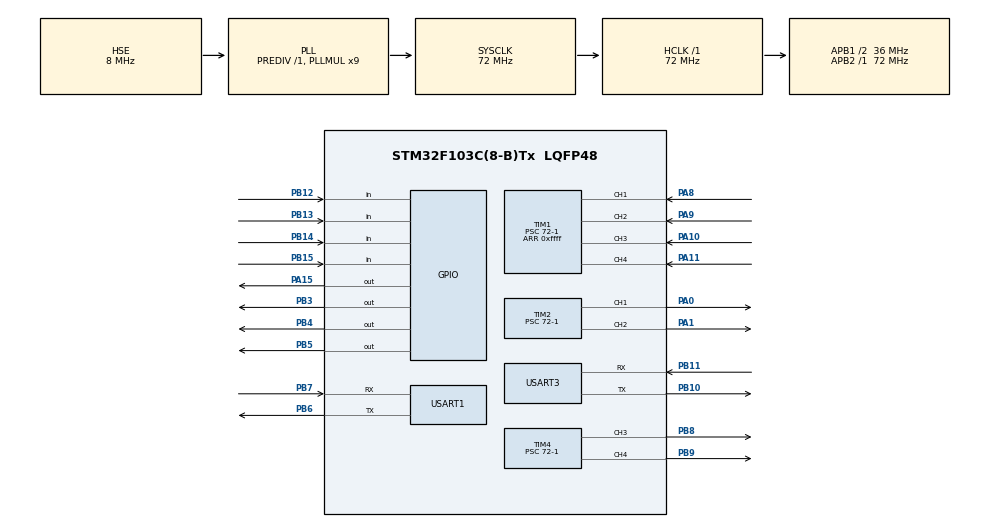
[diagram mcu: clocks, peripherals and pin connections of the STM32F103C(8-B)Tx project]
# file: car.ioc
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Mcu.Family=STM32F1
Mcu.Name=STM32F103C(8-B)Tx
Mcu.Package=LQFP48
NVIC.PriorityGroup=NVIC_PRIORITYGROUP_4
NVIC.TIM1_CC_IRQn=true\:0\:0\:false\:false\:true\:true\:true\:true
NVIC.TIM4_IRQn=true\:0\:0\:false\:false\:true\:true\:true\:true
NVIC.USART1_IRQn=true\:0\:0\:false\:false\:true\:true\:true\:true
NVIC.USART3_IRQn=true\:0\:0\:false\:false\:true\:true\:true\:true
PA0-WKUP.Signal=S_TIM2_CH1_ETR
PA1.Signal=S_TIM2_CH2
PA10.Signal=S_TIM1_CH3
PA11.Signal=S_TIM1_CH4
PA13.Mode=Serial_Wire
PA13.Signal=SYS_JTMS-SWDIO
PA14.Mode=Serial_Wire
PA14.Signal=SYS_JTCK-SWCLK
PA15.Signal=GPIO_Output
PA8.Signal=S_TIM1_CH1
PA9.Signal=S_TIM1_CH2
PB10.Mode=Asynchronous
PB10.Signal=USART3_TX
PB11.Mode=Asynchronous
PB11.Signal=USART3_RX
PB12.Signal=GPIO_Input
PB13.Signal=GPIO_Input
PB14.Signal=GPIO_Input
PB15.Signal=GPIO_Input
PB3.Signal=GPIO_Output
PB4.Signal=GPIO_Output
PB5.Signal=GPIO_Output
PB6.Mode=Asynchronous
PB6.Signal=USART1_TX
PB7.Mode=Asynchronous
PB7.Signal=USART1_RX
PB8.Signal=S_TIM4_CH3
PB9.Signal=S_TIM4_CH4
PD0-OSC_IN.Mode=HSE-External-Oscillator
PD0-OSC_IN.Signal=RCC_OSC_IN
PD1-OSC_OUT.Mode=HSE-External-Oscillator
PD1-OSC_OUT.Signal=RCC_OSC_OUT
ProjectManager.HeapSize=0x200
ProjectManager.StackSize=0x400
ProjectManager.TargetToolchain=MDK-ARM V5.32
RCC.AHBFreq_Value=72000000
RCC.APB1CLKDivider=RCC_HCLK_DIV2
RCC.APB1Freq_Value=36000000
RCC.APB1TimFreq_Value=72000000
RCC.APB2Freq_Value=72000000
RCC.APB2TimFreq_Value=72000000
RCC.HCLKFreq_Value=72000000
RCC.PLLMUL=RCC_PLL_MUL9
RCC.PLLSourceVirtual=RCC_PLLSOURCE_HSE
RCC.SYSCLKFreq_VALUE=72000000
RCC.SYSCLKSource=RCC_SYSCLKSOURCE_PLLCLK
RCC.USBFreq_Value=72000000
SH.S_TIM1_CH1.0=TIM1_CH1,Input_Capture1_from_TI1
SH.S_TIM1_CH2.0=TIM1_CH2,Input_Capture2_from_TI2
SH.S_TIM1_CH3.0=TIM1_CH3,Input_Capture3_from_TI3
SH.S_TIM1_CH4.0=TIM1_CH4,Input_Capture4_from_TI4
SH.S_TIM2_CH1_ETR.0=TIM2_CH1,PWM Generation1 CH1
SH.S_TIM2_CH2.0=TIM2_CH2,PWM Generation2 CH2
SH.S_TIM4_CH3.0=TIM4_CH3,PWM Generation3 CH3
SH.S_TIM4_CH4.0=TIM4_CH4,PWM Generation4 CH4
TIM1.Channel-Input_Capture1_from_TI1=TIM_CHANNEL_1
TIM1.Channel-Input_Capture2_from_TI2=TIM_CHANNEL_2
TIM1.Channel-Input_Capture3_from_TI3=TIM_CHANNEL_3
TIM1.Channel-Input_Capture4_from_TI4=TIM_CHANNEL_4
TIM1.Period=0xffff
TIM1.Prescaler=72-1
TIM2.Channel-PWM\ Generation1\ CH1=TIM_CHANNEL_1
TIM2.Channel-PWM\ Generation2\ CH2=TIM_CHANNEL_2
TIM2.Period=1000
TIM2.Prescaler=72-1
TIM4.Channel-PWM\ Generation3\ CH3=TIM_CHANNEL_3
TIM4.Channel-PWM\ Generation4\ CH4=TIM_CHANNEL_4
TIM4.Period=1000
TIM4.Prescaler=72-1
USART1.VirtualMode=VM_ASYNC
USART3.VirtualMode=VM_ASYNC
VP_TIM4_VS_ClockSourceINT.Mode=Internal
board=custom

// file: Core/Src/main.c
/* USER CODE BEGIN Header */
/**
  ******************************************************************************
  * @file           : main.c
  * @brief          : Main program body
  ******************************************************************************
  * @attention
  *
  * Copyright (c) 2022 STMicroelectronics.
  * All rights reserved.
  *
  * This software is licensed under terms that can be found in the LICENSE file
  * in the root directory of this software component.
  * If no LICENSE file comes with this software, it is provided AS-IS.
  *
  ******************************************************************************
  */
/* USER CODE END Header */
#include "main.h"
#include "tim.h"
#include "usart.h"
#include "gpio.h"

/* USER CODE BEGIN Includes */
#include "math.h"
#include "stdio.h"
#include "string.h"
#include "stdlib.h"
#include "oled.h"
/* USER CODE END Includes */

/* USER CODE BEGIN PTD */
struct gesture   //测得角度，角速度，x加速度，y加速度，轮位移
{
	float angle;  //角度
	float distance;
	float v1;  //左轮速度
	float v2;  //右轮速度
	float x1;  //左轮位移
	float x2;  //右轮位移
	float x;   //总位移
};
struct pidstruct  //pid参数
{
	float kp,ki,kd;
	float p,i,d;
	float thisde,lastde;
};
/* USER CODE END PTD */

/* USER CODE BEGIN PD */
uint8_t rx_buf1[1] = {0};
uint8_t rx_buf2[1] = {0};
uint8_t rx_buf3[1] = {0};
int mode=3;  //运动模式
int k=0;
int flag=0;

struct gesture gest;//当前姿态
struct gesture tgest;//目标姿态
struct gesture globalgest;//初始姿态
struct pidstruct pidposition;//位置环
struct pidstruct pidspeed1;//速度环左轮
struct pidstruct pidspeed2;//速度环右轮
struct pidstruct pidangle;//角度修正
struct pidstruct piddistance;//距离修正

float x_right=5600.0;
float x_left=4900.0;
/* USER CODE END PD */

void SystemClock_Config(void);

/* USER CODE BEGIN 0 */
void DataGet1(uint8_t data)//蓝牙
{
	if(data=='1') mode=1;
	if(data=='0') mode=0;
	if(data=='2') mode=2;
	if(data=='3') mode=3;
//	printf("%f,%f,%f\r\n",gest.v1,gest.v2,gest.angle);
	//HAL_GPIO_TogglePin(GPIOC,GPIO_PIN_13);
}
void DataGet2(uint8_t data)//陀螺仪
{
	//HAL_GPIO_TogglePin(GPIOC,GPIO_PIN_13);
}
void DataGet3(uint8_t data)//上位机通讯
{
	//HAL_GPIO_TogglePin(GPIOC,GPIO_PIN_13);
}
void Wheel(int num,int pwm)//轮子调速
{
	int direct;

	if(pwm>1000)
		pwm=1000;
	if(pwm<-1000)
		pwm=-1000;
	if(pwm>0)
		direct=1;
	if(pwm<0)
		direct=0;

	switch(num){
		case 3:
			switch(direct){
				case 1:
					__HAL_TIM_SET_COMPARE(&htim4,TIM_CHANNEL_3,1000-pwm);//3,1
				  HAL_GPIO_WritePin(GPIOB,GPIO_PIN_3,1);
				  break;
				case 0 :
					__HAL_TIM_SET_COMPARE(&htim4,TIM_CHANNEL_3,-pwm);//3,1
				  HAL_GPIO_WritePin(GPIOB,GPIO_PIN_3,0);
				  break;
			}
			break;

		case 4:
			switch(direct){
				case 1:
					__HAL_TIM_SET_COMPARE(&htim4,TIM_CHANNEL_4,pwm);//4,0
				  HAL_GPIO_WritePin(GPIOA,GPIO_PIN_15,0);
				  break;
				case 0 :
					__HAL_TIM_SET_COMPARE(&htim4,TIM_CHANNEL_4,1000+pwm);//4,0
				  HAL_GPIO_WritePin(GPIOA,GPIO_PIN_15,1);
				  break;
			}
			break;
		}
}
struct pidstruct initPID(float kp,float ki,float kd)//pid初始化
{
	struct pidstruct e;
	e.kp=kp;
	e.ki=ki;
	e.kd=kd;
	e.p=0;
	e.i=0;
	e.d=0;
	e.lastde=0;
	e.thisde=0;
	return e;
}
float PID(struct pidstruct *e,float err,float outlow,float outhigh)//计算输出
{
	float out;
	e->thisde = err;
	e->p = e->kp * e->thisde;
	e->i = e->ki * (e->i/e->ki + e->thisde);
	e->d = e->kd * (e->thisde - e->lastde);
	e->lastde = e->thisde;
	out = e->p + e->i + e->d;
	if(e->i > outhigh) e->i=outhigh;
	if(e->i < outlow) e->i=outlow;
	if(out>outhigh) out=outhigh;
	if(out<outlow) out=outlow;
	return out;
}
void Move_v(float targetv)//速度为目标运动
{
	float dout=0,out3,out4,out;
	dout=-PID(&piddistance,0-gest.distance,-1000,1000);
	out3=PID(&pidspeed1,targetv-dout-gest.v1,300,900);
	out4=PID(&pidspeed2,targetv+dout-gest.v2,300,900);
	Wheel(3,out3);
	Wheel(4,out4);

}
void Move_stop()  //停车
{
	float out3,out4;
	__HAL_TIM_SET_COMPARE(&htim4,TIM_CHANNEL_3,1000);//3,1
	HAL_GPIO_WritePin(GPIOB,GPIO_PIN_3,1);

	__HAL_TIM_SET_COMPARE(&htim4,TIM_CHANNEL_4,1000);//4,0
	HAL_GPIO_WritePin(GPIOA,GPIO_PIN_15,1);

	Wheel(4,out4);
	flag = 0;
}
void clear_x()   //清除记录路程
{
	gest.x=0;
	gest.x1=0;
	gest.x2=0;
}
void Wait_Stop(int time_stop)  //延时停车
{
	static int wait = 0;
	wait++;
	if(wait==time_stop)
	{
		Move_stop();
		clear_x();
		wait=0;
	}
}
void Waiting(int time_stop,int time_move)  //等停
{
	static int wait=0,time=0,flag=0;
	if(flag==0)
	{
		wait++;
		if(wait==time_stop)
	  {
		  Move_stop();
			wait=0;
			flag=1;
	  }
	}
	if(flag==1)
	{
		time++;
		if(time==time_move)
		{
		  mode=1;
			time=0;
		  flag=0;
		}
	}
}
void HAL_UART_RxCpltCallback(UART_HandleTypeDef *huart)  //串口中断
{
	static int count=0;
	static char a[10];
	if(huart == &huart1)
	{
		DataGet1(rx_buf1[0]);
		HAL_UART_AbortReceive_IT(&huart1);
		HAL_UART_Receive_IT(&huart1, rx_buf1, 1);
	}
	if(huart == &huart3)
	{
		if(rx_buf3[0]=='\n')  //接收树莓派数据
		{
			a[count]='\0';
			gest.distance=atof(a);
			count=0;
			a[0]='\0';
			k++;
		}
		else if(rx_buf3[0]=='\r')
		  mode = 0;
		else if(rx_buf3[0]=='\t')
			mode = 2;
		else if(rx_buf3[0]=='r')
		{
			mode = 1;
			clear_x();
			flag+=1;
			if(flag==3)  HAL_UART_Transmit(&huart3,(uint8_t *)'t',2,0xffff);
		}
		else if(rx_buf3[0]=='l')
		{
			mode = 4;
			clear_x();
			flag+=1;
			if(flag==3)  HAL_UART_Transmit(&huart3,(uint8_t *)'t',2,0xffff);
		}
		else
		{
			a[count]=rx_buf3[0];
			count++;
		}
		DataGet3(rx_buf3[0]);
		HAL_UART_AbortReceive_IT(&huart3);
		HAL_UART_Receive_IT(&huart3, rx_buf3, 1);
	}
}
void HAL_TIM_IC_CaptureCallback(TIM_HandleTypeDef *htim)  //输入捕获中断
{
	static float catch3[3],catch4[3];
	int judge3,judge4;
	if(htim==&htim1&&htim->Channel == HAL_TIM_ACTIVE_CHANNEL_3)//轮三
	{
		//printf("1");
		judge3=HAL_GPIO_ReadPin(GPIOB,GPIO_PIN_14);
		catch3[1]=HAL_TIM_ReadCapturedValue(htim, TIM_CHANNEL_3);
		catch3[2]=catch3[1]-catch3[0];
		if(catch3[2]<0)  catch3[2]+=0xffff;
		catch3[0] = catch3[1];
		//printf("%f\t",catch3[2]);

		if(judge3==0)
		{
			gest.x1+=0.52f;
			gest.v1=523598.78/catch3[2];
		}
		if(judge3==1)
		{
			gest.x1-=0.52f;
			gest.v1=-523598.78/catch3[2];
		}
	}
	if(htim==&htim1&&htim->Channel == HAL_TIM_ACTIVE_CHANNEL_4)//轮四
	{
		//printf("1");
		judge4=HAL_GPIO_ReadPin(GPIOB,GPIO_PIN_15);
		catch4[1]=HAL_TIM_ReadCapturedValue(htim, TIM_CHANNEL_4);
		catch4[2]=catch4[1]-catch4[0];
		if(catch4[2]<0)  catch4[2]+=0xffff;
		catch4[0] = catch4[1];
		//printf("%f\t",catch4[2]);

		if(judge4==1)
		{
			gest.x2+=0.52f;
			gest.v2=523598.78/catch4[2];
		}
		if(judge4==0)
		{
			gest.x2-=0.52f;
			gest.v2=-523598.78/catch4[2];
		}
	}
	gest.x=(gest.x1+gest.x2)/2;
}
void HAL_TIM_PeriodElapsedCallback(TIM_HandleTypeDef *htim)//定时器中段
{
	static int wait=0;
	if(mode==0)  //完全停车模式
	{
		Wait_Stop(100);
	}
	if(mode==1)  //右循迹
	{
	  Move_v(600);
		if(gest.x>x_right)
		{
			HAL_UART_Transmit(&huart3,(uint8_t *)'o',2,0xffff);
			clear_x();
		}
	}
	if(mode==4)  //左循迹
	{
		Move_v(600);
		if(gest.x>x_left)
		{
			HAL_UART_Transmit(&huart3,(uint8_t *)'o',2,0xffff);
			clear_x();
		}
	}
	if(mode==2)  //等停模式
	{
		Waiting(1,5000);
//		Move_stop();
//	  time++;
//		if(time==5000)
//		{
//			mode=1;
//			time=0;
//		  flag=0;
//		}
	}
	if(mode==3)
	{
		Move_stop();
		clear_x();
		wait++;
		if(wait==2000)
		{
		  HAL_UART_Transmit(&huart3,(uint8_t *)'o',2,0xffff);
			wait=0;
		}
	}
}
/* USER CODE END 0 */

int main(void)
{

  /* MCU Configuration--------------------------------------------------------*/

  /* Reset of all peripherals, Initializes the Flash interface and the Systick. */
  HAL_Init();

  /* Configure the system clock */
  SystemClock_Config();

  /* Initialize all configured peripherals */
  MX_GPIO_Init();
  MX_USART1_UART_Init();
  MX_TIM1_Init();
  MX_TIM2_Init();
  MX_TIM4_Init();
  MX_USART3_UART_Init();
  /* USER CODE BEGIN 2 */
	HAL_UART_Receive_IT(&huart1,rx_buf1,1);
	HAL_UART_Receive_IT(&huart3,rx_buf3,1);
	HAL_TIM_PWM_Start(&htim2,TIM_CHANNEL_1);
	HAL_TIM_PWM_Start(&htim2,TIM_CHANNEL_2);
	HAL_TIM_PWM_Start(&htim4,TIM_CHANNEL_3);
	HAL_TIM_PWM_Start(&htim4,TIM_CHANNEL_4);
	HAL_TIM_Base_Start_IT(&htim4);
	HAL_TIM_IC_Start_IT(&htim1,TIM_CHANNEL_1);
	HAL_TIM_IC_Start_IT(&htim1,TIM_CHANNEL_2);

	HAL_TIM_IC_Start_IT(&htim1,TIM_CHANNEL_3);
	HAL_TIM_IC_Start_IT(&htim1,TIM_CHANNEL_4);

	pidspeed1=initPID(0.4,0.09,0.01);
	pidspeed2=initPID(0.4,0.09,0.01);
	piddistance=initPID(0.85,0,0.40);

	//OLED_Init();
  /* USER CODE END 2 */

  /* Infinite loop */
  /* USER CODE BEGIN WHILE */
  while (1)
  {
//		printf("%f\t",gest.x);
		//printf("%f\t",gest.v2);
		//Wheel(3,600);
//	HAL_UART_Transmit(&huart3,(uint8_t *)'t',2,0xffff);
//////		Wheel(4,500);
//		HAL_Delay(1000);
    /* USER CODE END WHILE */

  }
}

void SystemClock_Config(void)
{
  RCC_OscInitTypeDef RCC_OscInitStruct = {0};
  RCC_ClkInitTypeDef RCC_ClkInitStruct = {0};

  /** Initializes the RCC Oscillators according to the specified parameters
  * in the RCC_OscInitTypeDef structure.
  */
  RCC_OscInitStruct.OscillatorType = RCC_OSCILLATORTYPE_HSE;
  RCC_OscInitStruct.HSEState = RCC_HSE_ON;
  RCC_OscInitStruct.HSEPredivValue = RCC_HSE_PREDIV_DIV1;
  RCC_OscInitStruct.HSIState = RCC_HSI_ON;
  RCC_OscInitStruct.PLL.PLLState = RCC_PLL_ON;
  RCC_OscInitStruct.PLL.PLLSource = RCC_PLLSOURCE_HSE;
  RCC_OscInitStruct.PLL.PLLMUL = RCC_PLL_MUL9;
  if (HAL_RCC_OscConfig(&RCC_OscInitStruct) != HAL_OK)
  {
    Error_Handler();
  }

  /** Initializes the CPU, AHB and APB buses clocks
  */
  RCC_ClkInitStruct.ClockType = RCC_CLOCKTYPE_HCLK|RCC_CLOCKTYPE_SYSCLK
                              |RCC_CLOCKTYPE_PCLK1|RCC_CLOCKTYPE_PCLK2;
  RCC_ClkInitStruct.SYSCLKSource = RCC_SYSCLKSOURCE_PLLCLK;
  RCC_ClkInitStruct.AHBCLKDivider = RCC_SYSCLK_DIV1;
  RCC_ClkInitStruct.APB1CLKDivider = RCC_HCLK_DIV2;
  RCC_ClkInitStruct.APB2CLKDivider = RCC_HCLK_DIV1;

  if (HAL_RCC_ClockConfig(&RCC_ClkInitStruct, FLASH_LATENCY_2) != HAL_OK)
  {
    Error_Handler();
  }
}

/* USER CODE BEGIN 4 */
int fputc(int ch, FILE *f)
{
	HAL_UART_Transmit(&huart1,(uint8_t*)&ch,1,10);
	return ch;
}
/* USER CODE END 4 */

void Error_Handler(void)
{
  __disable_irq();
  while (1)
  {
  }
}
